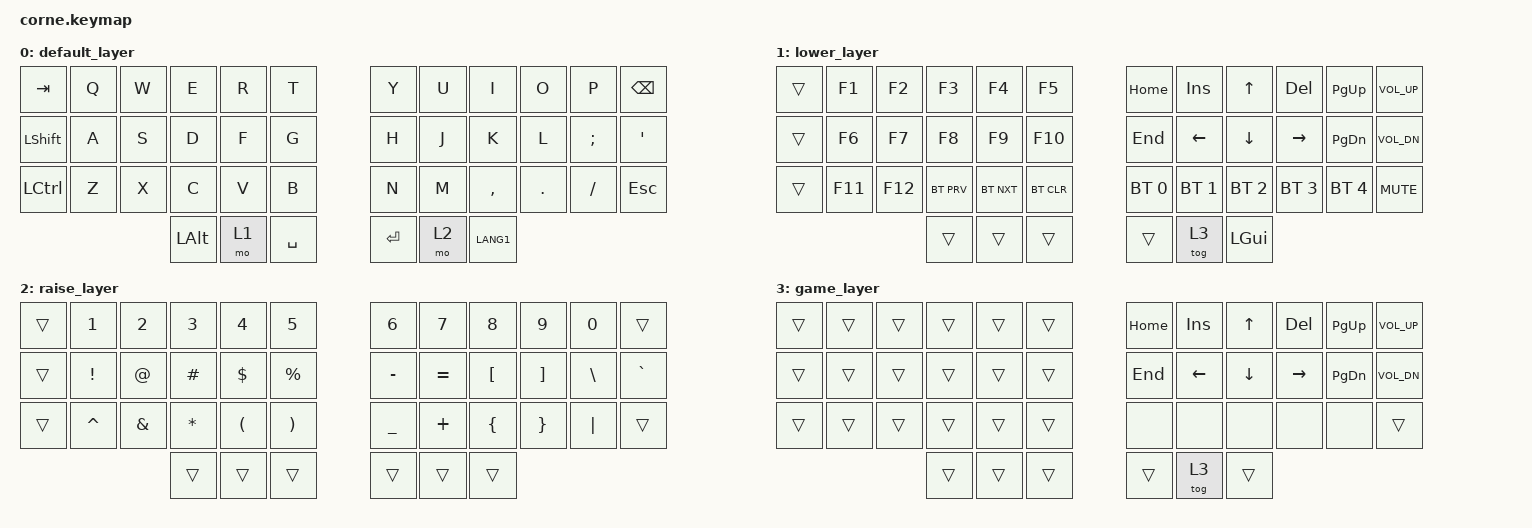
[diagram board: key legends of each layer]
/*
 * Copyright (c) 2020 The ZMK Contributors
 *
 * SPDX-License-Identifier: MIT
 */

#include <behaviors.dtsi>
#include <dt-bindings/zmk/bt.h>
#include <dt-bindings/zmk/keys.h>

/ {
    keymap {
        compatible = "zmk,keymap";

        default_layer {
            bindings = <
&kp TAB     &kp Q  &kp W  &kp E         &kp R  &kp T        &kp Y      &kp U  &kp I      &kp O    &kp P     &kp BACKSPACE
&kp LSHIFT  &kp A  &kp S  &kp D         &kp F  &kp G        &kp H      &kp J  &kp K      &kp L    &kp SEMI  &kp APOS
&kp LCTRL   &kp Z  &kp X  &kp C         &kp V  &kp B        &kp N      &kp M  &kp COMMA  &kp DOT  &kp FSLH  &kp ESC
                          &kp LEFT_ALT  &mo 1  &kp SPACE    &kp ENTER  &mo 2  &kp LANG1
            >;
        };

        lower_layer {
            bindings = <
&trans  &kp F1   &kp F2   &kp F3      &kp F4      &kp F5        &kp HOME      &kp INS       &kp UP        &kp DEL       &kp PG_UP     &kp C_VOLUME_UP
&trans  &kp F6   &kp F7   &kp F8      &kp F9      &kp F10       &kp END       &kp LEFT      &kp DOWN      &kp RIGHT     &kp PG_DN     &kp C_VOL_DN
&trans  &kp F11  &kp F12  &bt BT_PRV  &bt BT_NXT  &bt BT_CLR    &bt BT_SEL 0  &bt BT_SEL 1  &bt BT_SEL 2  &bt BT_SEL 3  &bt BT_SEL 4  &kp C_MUTE
                          &trans      &trans      &trans        &trans        &tog 3        &kp LEFT_GUI
            >;
        };

        raise_layer {
            bindings = <
&trans  &kp N1     &kp N2    &kp N3    &kp N4                &kp N5                   &kp N6     &kp N7     &kp N8          &kp N9           &kp N0    &trans
&trans  &kp EXCL   &kp AT    &kp HASH  &kp DOLLAR            &kp PERCENT              &kp MINUS  &kp EQUAL  &kp LBKT        &kp RBKT         &kp BSLH  &kp GRAVE
&trans  &kp CARET  &kp AMPS  &kp STAR  &kp LEFT_PARENTHESIS  &kp RIGHT_PARENTHESIS    &kp UNDER  &kp PLUS   &kp LEFT_BRACE  &kp RIGHT_BRACE  &kp PIPE  &trans
                             &trans    &trans                &trans                   &trans     &trans     &trans
            >;
        };

        game_layer {
            bindings = <
&trans  &trans  &trans  &trans  &trans  &trans    &kp HOME  &kp INS   &kp UP    &kp DEL    &kp PG_UP  &kp C_VOLUME_UP
&trans  &trans  &trans  &trans  &trans  &trans    &kp END   &kp LEFT  &kp DOWN  &kp RIGHT  &kp PG_DN  &kp C_VOL_DN
&trans  &trans  &trans  &trans  &trans  &trans    &none     &none     &none     &none      &none      &trans
                        &trans  &trans  &trans    &trans    &tog 3    &trans
            >;
        };
    };
};
